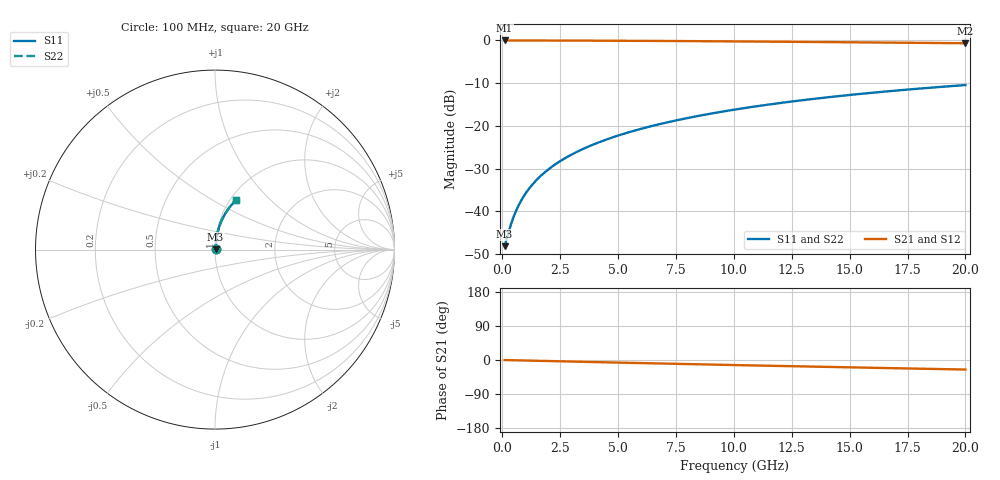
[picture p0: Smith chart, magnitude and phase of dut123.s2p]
! Touchstone file exported from HFSS 2024.1.0
!  File:  C:/UserFiles/LocalFiles/RDL_TSV_Batchsim/temp_RDL_top_123_1778684077.aedt
!  Generated:  10:56:45 PM May 13, 2026
!  Design:  RDL_top
!  Project:  temp_RDL_top_123_1778684077
!  Setup:  Setup1
!  Solution:  Sweep
! Variables:
!  dtsv = 10.80580581um
!  hbump = 3um
!  htsv = 98.36um
!  ldown = 100um
!  lrdl = 308.04um
!  p = 40
!  p1 = 40.29um
!  rhole = 1um
!  t = 450um
!  tdown = 3.915915916um
!  trdl = 2.51um
!  wdown = 15.38538539um
!  wrdl = 12.88um
# GHz S MA R 50.000000
! Terminal data exported
! Port[1] = Box2_T1
! Port[2] = Box2_T2
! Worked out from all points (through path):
!   200 points, 100 MHz to 20 GHz, reference 50 ohm
!   highest |S21| = -0.03 dB at 100 MHz (marker M1); lowest = -0.7 dB at 20 GHz (marker M2)
!   group delay of S21, straight-line fit = 3.49 ps
!   lowest |S11| = -48.1 dB at 100 MHz (marker M3), VSWR 1.01, Z = 50.4 + j0.162 ohm
!   |S11| at or under -10 dB: start of sweep to end of sweep
!   |S22| runs from -48.1 to -10.5 dB; largest |S21 - S12| = 3.6e-15
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0.1  0.003914 24.3  0.9964 -0.1  0.9964 -0.1  0.003914 24.3
! Gamma 0 0 0 0
! Port Impedance 50 0 50 0
0.3  0.006043 52.6  0.9963 -0.4  0.9963 -0.4  0.006043 52.6
0.4  0.007387 59.5  0.9962 -0.6  0.9962 -0.6  0.007387 59.5
0.5  0.008792 64.2  0.9962 -0.7  0.9962 -0.7  0.008792 64.2
0.6  0.01023 67.5  0.9961 -0.9  0.9961 -0.9  0.01023 67.5
0.7  0.01168 70.0  0.996 -1.0  0.996 -1.0  0.01168 70.0
0.9  0.01462 73.5  0.9958 -1.3  0.9958 -1.3  0.01462 73.5
1.2  0.01908 76.7  0.9955 -1.7  0.9955 -1.7  0.01908 76.7
1.4  0.02207 78.0  0.9953 -2.0  0.9953 -2.0  0.02207 78.0
1.7  0.02657 79.5  0.9949 -2.4  0.9949 -2.4  0.02657 79.5
2.2  0.03411 80.9  0.9943 -3.1  0.9943 -3.1  0.03411 80.9
2.8  0.04321 81.7  0.9934 -3.9  0.9934 -3.9  0.04321 81.7
3.5  0.05387 82.2  0.9922 -4.8  0.9922 -4.8  0.05387 82.2
4.2  0.06459 82.2  0.9907 -5.8  0.9907 -5.8  0.0646 82.2
5  0.07691 82.0  0.9887 -6.8  0.9887 -6.8  0.07691 82.0
5.9  0.09082 81.5  0.9862 -8.0  0.9862 -8.0  0.09082 81.5
6.8  0.1048 80.9  0.9834 -9.2  0.9834 -9.2  0.1048 80.9
8.3  0.128 79.7  0.9782 -11.2  0.9782 -11.2  0.128 79.7
10.1  0.1559 77.9  0.9713 -13.4  0.9713 -13.4  0.1559 77.9
13.4  0.206 74.3  0.9569 -17.5  0.9569 -17.5  0.206 74.3
16.7  0.2541 70.6  0.941 -21.4  0.941 -21.4  0.2541 70.6
20  0.2997 66.9  0.9241 -25.1  0.9241 -25.1  0.2997 66.9
